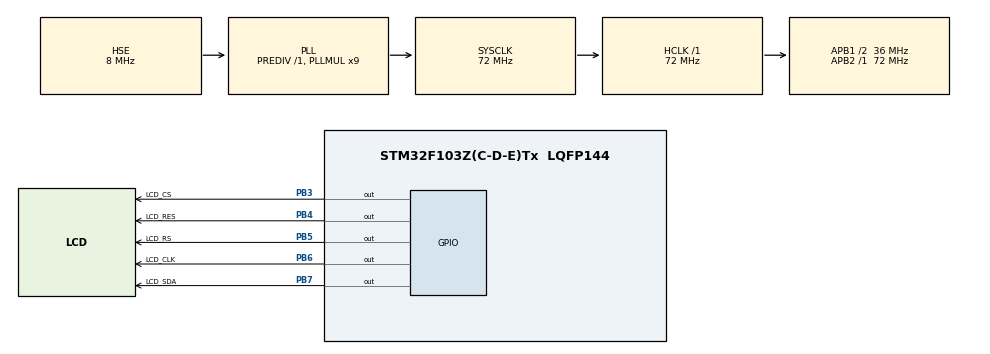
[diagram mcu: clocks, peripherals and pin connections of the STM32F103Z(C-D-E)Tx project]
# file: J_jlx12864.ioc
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Mcu.Family=STM32F1
Mcu.Name=STM32F103Z(C-D-E)Tx
Mcu.Package=LQFP144
NVIC.PriorityGroup=NVIC_PRIORITYGROUP_4
OSC_IN.Mode=HSE-External-Oscillator
OSC_IN.Signal=RCC_OSC_IN
OSC_OUT.Mode=HSE-External-Oscillator
OSC_OUT.Signal=RCC_OSC_OUT
PA13.Mode=Serial_Wire
PA13.Signal=SYS_JTMS-SWDIO
PA14.Mode=Serial_Wire
PA14.Signal=SYS_JTCK-SWCLK
PB3.GPIO_Label=LCD_CS
PB3.Signal=GPIO_Output
PB4.GPIO_Label=LCD_RES
PB4.Signal=GPIO_Output
PB5.GPIO_Label=LCD_RS
PB5.Signal=GPIO_Output
PB6.GPIO_Label=LCD_CLK
PB6.Signal=GPIO_Output
PB7.GPIO_Label=LCD_SDA
PB7.Signal=GPIO_Output
ProjectManager.HeapSize=0x200
ProjectManager.StackSize=0x400
ProjectManager.TargetToolchain=MDK-ARM V5.32
RCC.AHBFreq_Value=72000000
RCC.APB1CLKDivider=RCC_HCLK_DIV2
RCC.APB1Freq_Value=36000000
RCC.APB1TimFreq_Value=72000000
RCC.APB2Freq_Value=72000000
RCC.APB2TimFreq_Value=72000000
RCC.HCLKFreq_Value=72000000
RCC.PLLMUL=RCC_PLL_MUL9
RCC.PLLSourceVirtual=RCC_PLLSOURCE_HSE
RCC.SYSCLKFreq_VALUE=72000000
RCC.SYSCLKSource=RCC_SYSCLKSOURCE_PLLCLK
RCC.USBFreq_Value=72000000
board=custom

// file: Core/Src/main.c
/* USER CODE BEGIN Header */
/**
  ******************************************************************************
  * @file           : main.c
  * @brief          : Main program body
  ******************************************************************************
  * @attention
  *
  * Copyright (c) 2025 STMicroelectronics.
  * All rights reserved.
  *
  * This software is licensed under terms that can be found in the LICENSE file
  * in the root directory of this software component.
  * If no LICENSE file comes with this software, it is provided AS-IS.
  *
  ******************************************************************************
  */
/* USER CODE END Header */
#include "main.h"
#include "gpio.h"

/* USER CODE BEGIN Includes */
#include "headfile.h"
/* USER CODE END Includes */

void SystemClock_Config(void);

int main(void)
{

  /* MCU Configuration--------------------------------------------------------*/

  /* Reset of all peripherals, Initializes the Flash interface and the Systick. */
  HAL_Init();

  /* Configure the system clock */
  SystemClock_Config();

  /* Initialize all configured peripherals */
  MX_GPIO_Init();
  /* USER CODE BEGIN 2 */
LCD_Init();
HAL_Delay(20);
LCD_Clear();
LCD_DispStr8x16(2, 0,"Blue:0");
LCD_DispStr8x16(4, 0,"Red:0");
LCD_DispStr8x16(6, 0,"Yellow:0");
LCD_DispStr8x16(8, 0,"Green:0");

LCD_DispStr8x16(2, 56,"L-blue:0");
LCD_DispStr8x16(4, 56,"Orange:0");
LCD_DispStr8x16(6, 72,"Pink:0");
LCD_DispStr8x16(8, 64,"purple:0");

char text[20];
uint8_t blue = 5;
uint8_t red = 5;
uint8_t yellow = 5;
uint8_t green = 5;
uint8_t l_blue = 5;
uint8_t orange = 5;
uint8_t pink = 5;
uint8_t purple = 5;
  /* USER CODE END 2 */

  /* Infinite loop */
  /* USER CODE BEGIN WHILE */
  while (1)
  {
      sprintf(text,"%d",blue);
      LCD_DispStr8x16(2, 40,text);
      sprintf(text,"%d",red);
      LCD_DispStr8x16(4, 32,text);
      sprintf(text,"%d",yellow);
      LCD_DispStr8x16(6, 56,text);
      sprintf(text,"%d",green);
      LCD_DispStr8x16(8, 48,text);
      sprintf(text,"%d",l_blue);
      LCD_DispStr8x16(2, 112,text);
      sprintf(text,"%d",orange);
      LCD_DispStr8x16(4, 112,text);
      sprintf(text,"%d",pink);
      LCD_DispStr8x16(6, 112,text);
      sprintf(text,"%d",purple);
      LCD_DispStr8x16(8, 120,text);

    /* USER CODE END WHILE */

  }
}

void SystemClock_Config(void)
{
  RCC_OscInitTypeDef RCC_OscInitStruct = {0};
  RCC_ClkInitTypeDef RCC_ClkInitStruct = {0};

  /** Initializes the RCC Oscillators according to the specified parameters
  * in the RCC_OscInitTypeDef structure.
  */
  RCC_OscInitStruct.OscillatorType = RCC_OSCILLATORTYPE_HSE;
  RCC_OscInitStruct.HSEState = RCC_HSE_ON;
  RCC_OscInitStruct.HSEPredivValue = RCC_HSE_PREDIV_DIV1;
  RCC_OscInitStruct.HSIState = RCC_HSI_ON;
  RCC_OscInitStruct.PLL.PLLState = RCC_PLL_ON;
  RCC_OscInitStruct.PLL.PLLSource = RCC_PLLSOURCE_HSE;
  RCC_OscInitStruct.PLL.PLLMUL = RCC_PLL_MUL9;
  if (HAL_RCC_OscConfig(&RCC_OscInitStruct) != HAL_OK)
  {
    Error_Handler();
  }

  /** Initializes the CPU, AHB and APB buses clocks
  */
  RCC_ClkInitStruct.ClockType = RCC_CLOCKTYPE_HCLK|RCC_CLOCKTYPE_SYSCLK
                              |RCC_CLOCKTYPE_PCLK1|RCC_CLOCKTYPE_PCLK2;
  RCC_ClkInitStruct.SYSCLKSource = RCC_SYSCLKSOURCE_PLLCLK;
  RCC_ClkInitStruct.AHBCLKDivider = RCC_SYSCLK_DIV1;
  RCC_ClkInitStruct.APB1CLKDivider = RCC_HCLK_DIV2;
  RCC_ClkInitStruct.APB2CLKDivider = RCC_HCLK_DIV1;

  if (HAL_RCC_ClockConfig(&RCC_ClkInitStruct, FLASH_LATENCY_2) != HAL_OK)
  {
    Error_Handler();
  }
}

void Error_Handler(void)
{
  __disable_irq();
  while (1)
  {
  }
}
